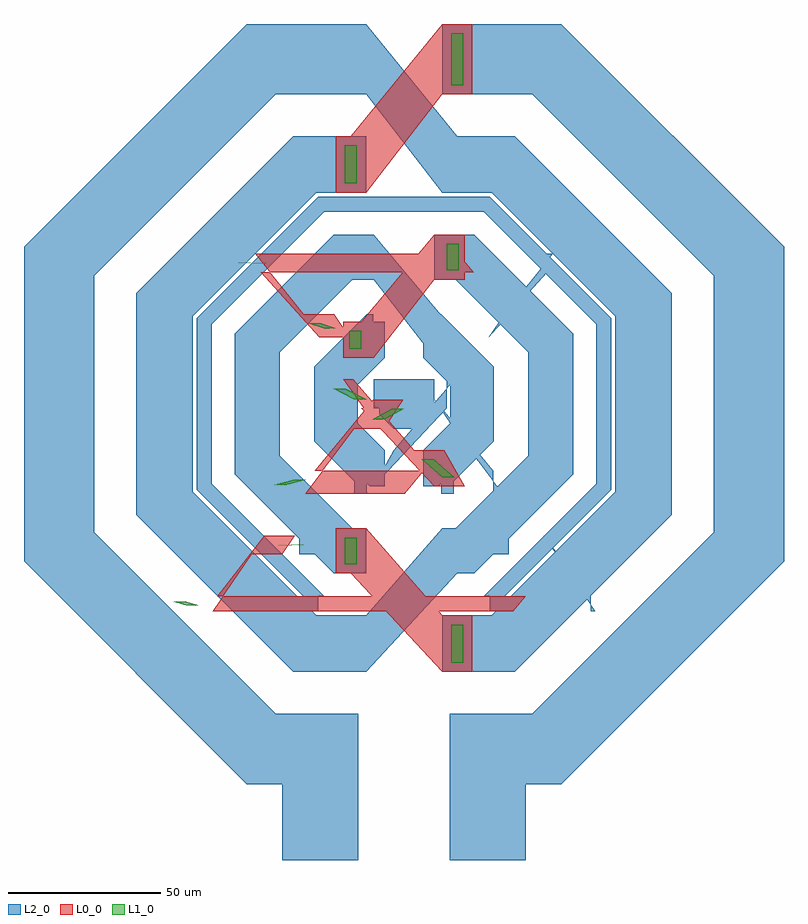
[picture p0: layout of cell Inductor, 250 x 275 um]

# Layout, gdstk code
import gdstk
lib = gdstk.Library(unit=1e-6, precision=1e-09)
def R(c, l, rs):  # rectangles x0, y0, x1, y1
    for r in rs: c.add(gdstk.rectangle(r[:2], r[2:], *l))
def P(c, l, *ps):  # polygons
    for p in ps: c.add(gdstk.Polygon(p, *l))
L0_0 = (0, 0)
L1_0 = (1, 0)
L2_0 = (2, 0)

inductor = lib.new_cell('Inductor')
P(inductor, L0_0, [(22.5,101.903),(22.5,125),(12.5,125),(-17.5,88.045),(-22.5,88.045),(-22.5,69.567),(-12.5,69.567),(12.5,101.903)],
  [(20,40.927),(20,55.709),(10,55.709),(-14,27.069),(-20,27.069),(-20,15.243),(-10,15.243),(10,40.927)],
  [(-6.44,-8.076),(-0.171,1.385),(-10.171,1.385),(-29.371,-21.934),(6.44,-21.934),(0.171,-29.502),(-32.44,-29.502),(-16.44,-8.076)],
  [(-40.03,-49.415),(-36.017,-43.36),(-46.017,-43.36),(-61.377,-63.273),(40.03,-63.273),(36.017,-68.117),(-62.83,-68.117),(-50.03,-49.415)],
  [(22.5,-69.567),(22.5,-88.045),(12.5,-88.045),(-17.5,-55.709),(-22.5,-55.709),(-22.5,-40.927),(-12.5,-40.927),(12.5,-69.567)],
  [(13.31,-15.243),(20,-27.069),(10,-27.069),(-14,-1.385),(-13.31,-1.385),(-20,8.076),(-16.69,8.076),(3.31,-15.243)],
  [(-22.937,29.502),(-17.921,21.934),(-27.921,21.934),(-47.121,43.36),(22.937,43.36),(17.921,49.415),(-48.937,49.415),(-32.937,29.502)])
R(inductor, L1_0, [(15.5,-85.045,19.5,-72.567), (-19.5,-52.709,-15.5,-43.927), (-18,18.243,-14,24.069), (14,43.927,18,52.709), (-19.5,72.567,-15.5,85.045), (15.5,104.903,19.5,122)])
P(inductor, L1_0, [(-4.051,-1.615),(-10.32,-5.076),(-6.32,-5.076),(-0.051,-1.615)],
  [(-32.291,-24.934),(-38.56,-26.502),(-42.56,-26.502),(-36.291,-24.934)],
  [(-37.141,-46.36),(-41.153,-46.415),(-37.153,-46.415),(-33.141,-46.36)],
  [(-67.694,-66.273),(-71.707,-65.117),(-75.707,-65.117),(-71.694,-66.273)],
  [(12.5,-24.069),(5.81,-18.243),(9.81,-18.243),(16.5,-24.069)],
  [(-12.5,1.615),(-19.19,5.076),(-23.19,5.076),(-16.5,1.615)],
  [(-26.421,24.934),(-31.437,26.502),(-27.437,26.502),(-22.421,24.934)],
  [(-45.421,46.36),(-50.437,46.415),(-54.437,46.415),(-49.421,46.36)])
R(inductor, L2_0, [(-28.816,-88.045,-12.5,-69.567), (12.5,-88.045,28.816,-69.567), (-50.03,-68.117,-28.215,-63.273), (28.215,-68.117,50.03,-63.273), (-16.953,-55.709,-12.5,-40.927), (12.5,-55.709,16.953,-40.927), (-34.537,-49.415,-20.468,-43.36), (20.468,-49.415,34.537,-43.36), (-16.44,-29.502,-12.22,-21.934), (12.22,-29.502,16.44,-21.934), (-10,-27.069,-6.314,-15.243), (6.314,-27.069,10,-15.243), (-3.345,-8.076,1.31,1.385), (-1.31,-8.076,3.345,1.385), (-10,-1.385,3.345,8.076), (-3.345,-1.385,10,8.076), (-10,15.243,-6.314,27.069), (6.314,15.243,10,27.069), (-12.22,21.934,-10.171,29.502), (10.171,21.934,12.22,29.502), (-16.953,40.927,-10,55.709), (10,40.927,16.953,55.709), (-27.921,43.36,-20.468,49.415), (20.468,43.36,27.921,49.415), (-28.215,63.273,28.215,68.117), (-28.816,69.567,-12.5,88.045), (12.5,69.567,28.816,88.045), (-42.21,101.903,-12.5,125), (12.5,101.903,42.21,125)])
P(inductor, L2_0, [(-51.777,125),(-125,51.777),(-125,-51.777),(-51.777,-125),(-42.21,-125),(-42.21,-101.903),(-101.903,-42.21),(-101.903,42.21),(-42.21,101.903),(-42.21,125)],
  [(51.777,-125),(125,-51.777),(125,51.777),(51.777,125),(42.21,125),(42.21,101.903),(101.903,42.21),(101.903,-42.21),(42.21,-101.903),(42.21,-125)],
  [(-36.469,88.045),(-88.045,36.469),(-88.045,-36.469),(-36.469,-88.045),(-28.816,-88.045),(-28.816,-69.567),(-69.567,-28.816),(-69.567,28.816),(-28.816,69.567),(-28.816,88.045)],
  [(36.469,-88.045),(88.045,-36.469),(88.045,36.469),(36.469,88.045),(28.816,88.045),(28.816,69.567),(69.567,28.816),(69.567,-28.816),(28.816,-69.567),(28.816,-88.045)],
  [(-23.075,55.709),(-55.709,23.075),(-55.709,-23.075),(-23.075,-55.709),(-16.953,-55.709),(-16.953,-40.927),(-40.927,-16.953),(-40.927,16.953),(-16.953,40.927),(-16.953,55.709)],
  [(23.075,-55.709),(55.709,-23.075),(55.709,23.075),(23.075,55.709),(16.953,55.709),(16.953,40.927),(40.927,16.953),(40.927,-16.953),(16.953,-40.927),(16.953,-55.709)],
  [(-11.212,27.069),(-27.069,11.212),(-27.069,-11.212),(-11.212,-27.069),(-6.314,-27.069),(-6.314,-15.243),(-15.243,-6.314),(-15.243,6.314),(-6.314,15.243),(-6.314,27.069)],
  [(11.212,-27.069),(27.069,-11.212),(27.069,11.212),(11.212,27.069),(6.314,27.069),(6.314,15.243),(15.243,6.314),(15.243,-6.314),(6.314,-15.243),(6.314,-27.069)],
  [(-0.574,1.385),(-1.385,0.574),(-1.385,-0.574),(-0.574,-1.385),(3.345,-1.385),(3.345,8.076),(8.076,3.345),(8.076,-3.345),(3.345,-8.076),(3.345,1.385)],
  [(0.574,-1.385),(1.385,-0.574),(1.385,0.574),(0.574,1.385),(-3.345,1.385),(-3.345,-8.076),(-8.076,-3.345),(-8.076,3.345),(-3.345,8.076),(-3.345,-1.385)],
  [(9.085,-21.934),(21.934,-9.085),(21.934,9.085),(9.085,21.934),(12.22,21.934),(12.22,29.502),(29.502,12.22),(29.502,-12.22),(12.22,-29.502),(12.22,-21.934)],
  [(-9.085,21.934),(-21.934,9.085),(-21.934,-9.085),(-9.085,-21.934),(-12.22,-21.934),(-12.22,-29.502),(-29.502,-12.22),(-29.502,12.22),(-12.22,29.502),(-12.22,21.934)],
  [(17.96,-43.36),(43.36,-17.96),(43.36,17.96),(17.96,43.36),(20.468,43.36),(20.468,49.415),(49.415,20.468),(49.415,-20.468),(20.468,-49.415),(20.468,-43.36)],
  [(-17.96,43.36),(-43.36,17.96),(-43.36,-17.96),(-17.96,-43.36),(-20.468,-43.36),(-20.468,-49.415),(-49.415,-20.468),(-49.415,20.468),(-20.468,49.415),(-20.468,43.36)],
  [(26.209,-63.273),(63.273,-26.209),(63.273,26.209),(26.209,63.273),(28.215,63.273),(28.215,68.117),(68.117,28.215),(68.117,-28.215),(28.215,-68.117),(28.215,-63.273)],
  [(-26.209,63.273),(-63.273,26.209),(-63.273,-26.209),(-26.209,-63.273),(-28.215,-63.273),(-28.215,-68.117),(-68.117,-28.215),(-68.117,28.215),(-28.215,68.117),(-28.215,63.273)],
  [(15,-150),(40,-150),(40,-125),(42.21,-125),(42.21,-101.903),(15,-101.903)],
  [(-15,-150),(-40,-150),(-40,-125),(-42.21,-125),(-42.21,-101.903),(-15,-101.903)],
  [(-12.5,125),(17.5,88.045),(17.5,69.567),(12.5,69.567),(-12.5,101.903)],
  [(-10,55.709),(14,27.069),(14,15.243),(10,15.243),(-10,40.927)],
  [(10.171,1.385),(29.371,-21.934),(29.371,-29.502),(32.44,-29.502),(16.44,-8.076)],
  [(46.017,-43.36),(61.377,-63.273),(61.377,-68.117),(62.83,-68.117),(50.03,-49.415)],
  [(-12.5,-88.045),(17.5,-55.709),(17.5,-40.927),(12.5,-40.927),(-12.5,-69.567)],
  [(-10,-27.069),(14,-1.385),(14,8.076),(16.69,8.076),(-3.31,-15.243)],
  [(27.921,21.934),(47.121,43.36),(47.121,49.415),(48.937,49.415),(32.937,29.502)])

lib.write_gds('Inductor.gds')
